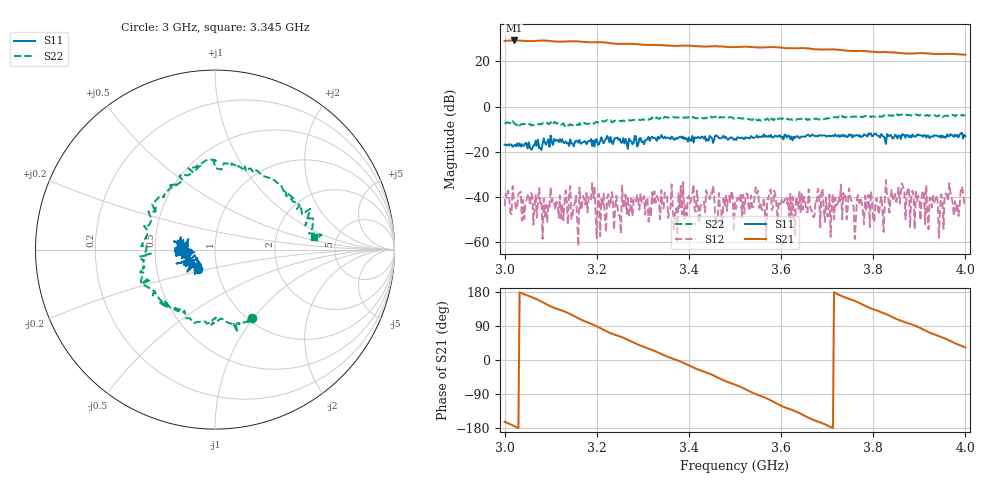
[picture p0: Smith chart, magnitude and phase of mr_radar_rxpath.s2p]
!Agilent Technologies,E8358A,US40260201,A.04.06
!Agilent E8358A: A.04.06
!Date: Saturday, February 25, 2012 17:41:13
!Correction: S11(Full 2 Port SOLT,1,2) S21(Full 2 Port SOLT,1,2) S12(Full 2 Port SOLT,1,2) S22(Full 2 Port SOLT,1,2)
!S2P File: Measurements: S11, S21, S12, S22:
# Hz S  MA  R 50
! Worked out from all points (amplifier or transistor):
!   401 points, 3 GHz to 4 GHz, reference 50 ohm
!   highest |S21| = 29.2 dB at 3.02 GHz (marker M1)
!   |S21| within 3 dB of that: start of sweep to 3.544 GHz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
!   unconditionally stable (mu >= 1): 3.1 GHz to 3.362 GHz; 3.41 GHz to 3.827 GHz; 3.863 GHz to end of sweep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
!   at 3.165 GHz: K = 2.99, MAG = 29.7 dB, |S12| = -45.9 dB
!   at 3.5 GHz: K = 2.35, MAG = 27.8 dB, |S12| = -42.4 dB
!   at 4 GHz: K = 2.84, MAG = 25.7 dB, |S12| = -43.3 dB
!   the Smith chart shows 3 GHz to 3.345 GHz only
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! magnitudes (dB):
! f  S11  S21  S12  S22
! 3 GHz  -16.9  29.0  -44.1  -7.3
! 3.02 GHz  -17.4  29.2  -41.2  -7.2
! 3.087 GHz  -16.0  29.2  -48.8  -7.7
! 3.103 GHz  -15.7  28.9  -42.3  -7.7
! 3.163 GHz  -14.7  28.8  -35.9  -7.4
! 3.167 GHz  -16.1  28.7  -44.8  -7.9
! 3.19 GHz  -17.5  28.4  -34.0  -7.5
! 3.203 GHz  -17.0  28.5  -39.1  -7.1
! 3.228 GHz  -15.8  28.1  -44.3  -6.3
! 3.335 GHz  -14.3  27.2  -42.2  -5.5
! 3.37 GHz  -14.5  26.8  -45.8  -4.9
! 3.382 GHz  -13.3  26.9  -35.1  -5.0
! 3.5 GHz  -14.4  26.3  -42.4  -5.3
! 3.545 GHz  -13.5  26.2  -35.7  -5.9
! 3.562 GHz  -12.3  26.2  -40.2  -5.5
! 3.575 GHz  -13.5  26.2  -37.7  -6.2
! 3.667 GHz  -12.3  25.5  -46.3  -5.9
! 3.835 GHz  -13.0  24.0  -47.0  -3.8
! 3.935 GHz  -12.9  23.3  -40.9  -4.0
! 3.947 GHz  -13.9  23.3  -38.8  -4.1
! 3.962 GHz  -13.0  23.3  -41.9  -4.2
! 4 GHz  -13.1  22.9  -43.3  -3.9
